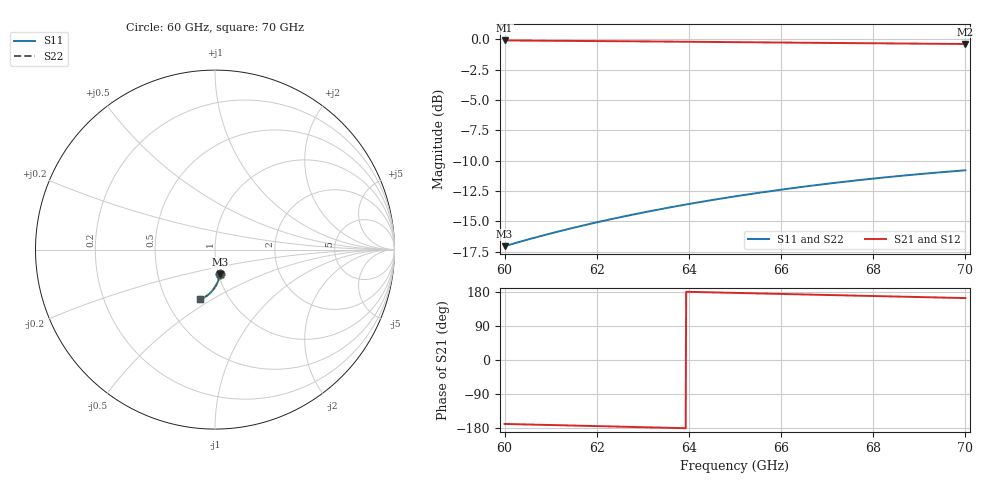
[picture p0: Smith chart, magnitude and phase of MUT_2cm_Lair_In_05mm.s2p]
! TOUCHSTONE file generated by CST MICROWAVE STUDIO
! Date and time: Fri Mar  8 11:09:33 2024
! Project name: material_angular.cst
! Parameters = {d=9.25; Yi=5; iiii=5; exis2=5; exis=5; X=5; Z=5; Y=2}
! Header version: 2018
! Port assignment regex: !\s*Touchstone port\s*([0-9]+)\s*=\s*(CST MWS port|CST DS port)\s*([0-9]+|Zmin|Zmax)\s*\(\"(.*)\"\)(\s*mode\s*([0-9]+))?.*
! Touchstone port assignment:
! Touchstone port 1 = CST MWS port 1 ("")
! Touchstone port 2 = CST MWS port 2 ("")
# GHz S MA R 376.7
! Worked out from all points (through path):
!   1001 points, 60 GHz to 70 GHz, reference 376.7 ohm
!   highest |S21| = -0.09 dB at 60 GHz (marker M1); lowest = -0.4 dB at 70 GHz (marker M2)
!   group delay of S21, straight-line fit = 7.74 ps
!   lowest |S11| = -17.0 dB at 60 GHz (marker M3), VSWR 1.33, Z = 383 - j108 ohm
!   |S11| at or under -10 dB: start of sweep to end of sweep
!   |S22| runs from -17.0 to -10.8 dB; largest |S21 - S12| = 0.00081
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60  0.1405 -78.8  0.9899 -168.7  0.9899 -168.7  0.1405 -78.7
60.05  0.1414 -78.9  0.9898 -168.9  0.9898 -168.9  0.1414 -78.8
60.46  0.1488 -80.1  0.9887 -170.1  0.9887 -170.0  0.1488 -80.0
60.88  0.1564 -81.3  0.9876 -171.3  0.9876 -171.3  0.1564 -81.2
61.27  0.1634 -82.4  0.9865 -172.4  0.9865 -172.4  0.1633 -82.3
61.67  0.1704 -83.6  0.9853 -173.5  0.9853 -173.5  0.1704 -83.5
62.08  0.1776 -84.8  0.9841 -174.7  0.9841 -174.7  0.1776 -84.7
62.49  0.1846 -85.9  0.9828 -175.9  0.9829 -175.9  0.1846 -85.8
62.91  0.1918 -87.1  0.9815 -177.1  0.9816 -177.1  0.1918 -87.0
63.34  0.1989 -88.3  0.9801 -178.3  0.9802 -178.3  0.199 -88.3
63.74  0.2055 -89.5  0.9788 -179.4  0.9788 -179.4  0.2055 -89.4
64.15  0.2121 -90.6  0.9774 179.4  0.9774 179.4  0.2121 -90.6
64.57  0.2188 -91.8  0.9759 178.2  0.9759 178.2  0.2188 -91.8
65  0.2254 -93.0  0.9744 177.0  0.9743 177.0  0.2254 -93.0
65.41  0.2316 -94.2  0.9729 175.9  0.9728 175.9  0.2316 -94.1
65.82  0.2376 -95.3  0.9714 174.7  0.9713 174.7  0.2376 -95.2
66.67  0.2496 -97.6  0.9683 172.4  0.9683 172.4  0.2496 -97.6
67.5  0.2606 -99.9  0.9653 170.1  0.9655 170.1  0.2606 -99.9
68.34  0.2709 -102.1  0.9623 167.9  0.9628 167.8  0.2709 -102.1
69.21  0.2807 -104.5  0.9595 165.5  0.96 165.5  0.2806 -104.5
69.95  0.2882 -106.4  0.9575 163.5  0.9575 163.6  0.2882 -106.4
70  0.2887 -106.6  0.9574 163.4  0.9574 163.4  0.2887 -106.6
